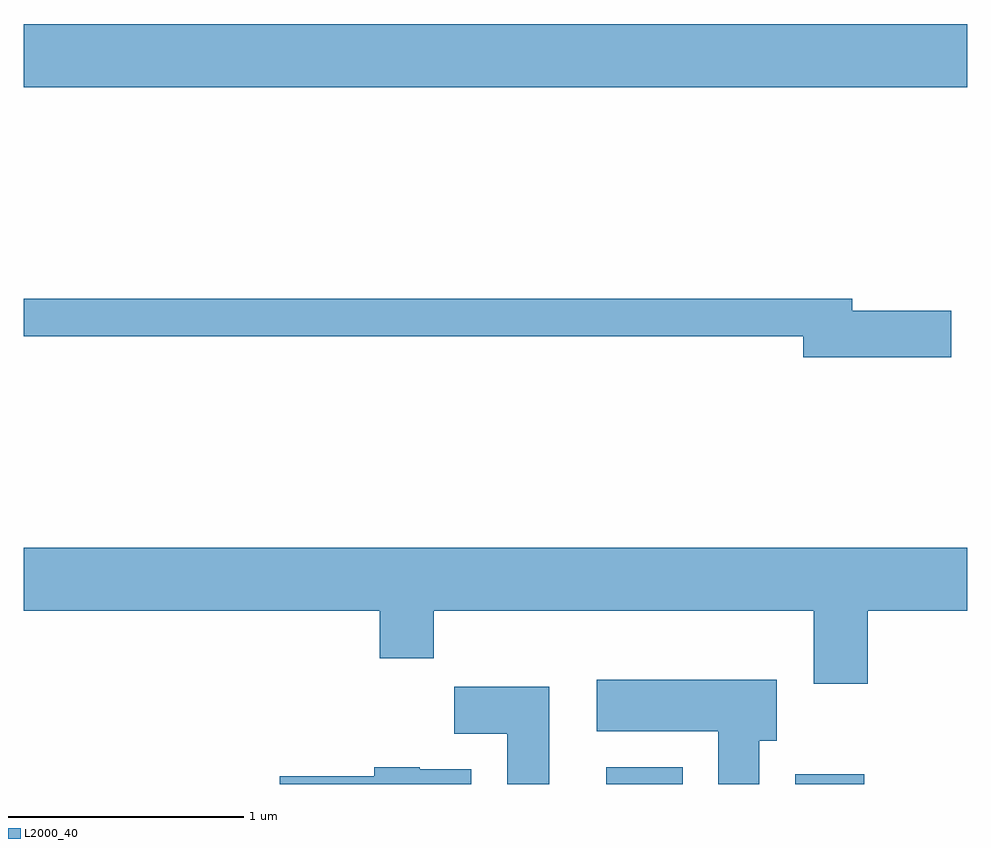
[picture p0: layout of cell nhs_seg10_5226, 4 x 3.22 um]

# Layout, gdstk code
import gdstk
lib = gdstk.Library(unit=1e-6, precision=1e-09)
def R(c, l, rs):  # rectangles x0, y0, x1, y1
    for r in rs: c.add(gdstk.rectangle(r[:2], r[2:], *l))
def P(c, l, *ps):  # polygons
    for p in ps: c.add(gdstk.Polygon(p, *l))
L2000_40 = (2000, 40)

nhs_seg10_5226 = lib.new_cell('nhs_seg10_5226')
R(nhs_seg10_5226, L2000_40, [(342.081,2106.522,342.404,2106.594), (342.881,2106.522,343.174,2106.564), (339.611,2109.476,343.611,2109.744)])
P(nhs_seg10_5226, L2000_40, [(343.544,2108.529),(343.124,2108.529),(343.124,2108.579),(339.611,2108.579),(339.611,2108.421),(342.916,2108.421),(342.916,2108.331),(343.544,2108.331)],
  [(343.189,2107.256),(343.611,2107.256),(343.611,2107.524),(339.611,2107.524),(339.611,2107.256),(341.121,2107.256),(341.121,2107.056),(341.349,2107.056),(341.349,2107.256),(342.961,2107.256),(342.961,2106.946),(343.189,2106.946)],
  [(342.729,2106.706),(342.804,2106.706),(342.804,2106.964),(342.041,2106.964),(342.041,2106.746),(342.556,2106.746),(342.556,2106.522),(342.729,2106.522)],
  [(341.839,2106.934),(341.436,2106.934),(341.436,2106.736),(341.661,2106.736),(341.661,2106.522),(341.839,2106.522)],
  [(341.509,2106.584),(341.29,2106.584),(341.29,2106.594),(341.096,2106.594),(341.096,2106.554),(340.696,2106.554),(340.696,2106.522),(341.509,2106.522)])

lib.write_gds('nhs_seg10_5226.gds')
